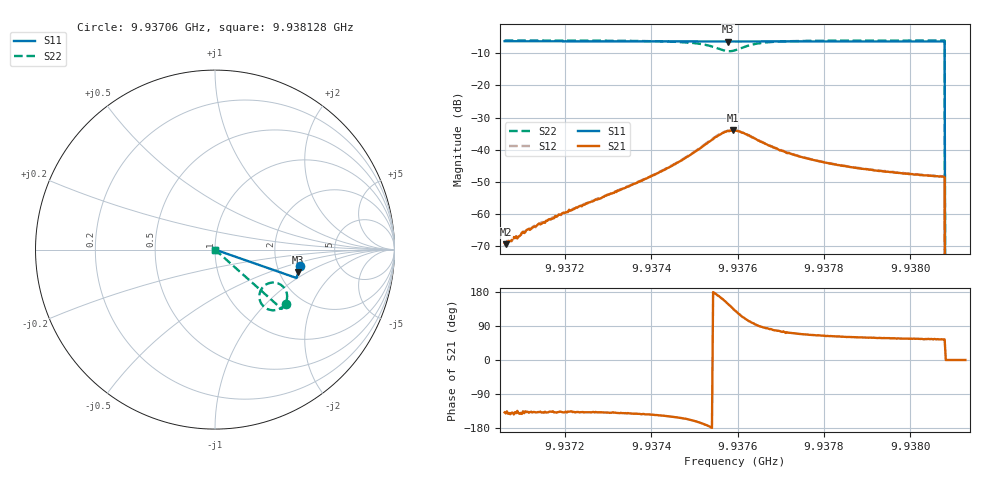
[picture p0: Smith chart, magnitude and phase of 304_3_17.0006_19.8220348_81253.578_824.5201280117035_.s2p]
#  HZ  S  RI  R  50.00
! Rohde & Schwarz Vector Network Analyzer
! Rohde-Schwarz,ZNB20-2Port,1311601062101988,3.16
! Created: UTC 3/20/2024, 11:05:44 PM
! freq[Hz]  re:S11  im:S11  re:S21  im:S21  re:S12  im:S12  re:S22  im:S22
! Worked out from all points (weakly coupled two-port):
!   401 points, 9.93706 GHz to 9.938128 GHz, reference 50 ohm
!   highest |S21| = -33.95 dB at 9.937589 GHz (marker M1); lowest = -69.3 dB at 9.937063 GHz (marker M2)
!   lowest |S11| = -6.4 dB at 9.937578 GHz (marker M3), VSWR 2.85, Z = 127 - j41.2 ohm
!   |S11| at or under -10 dB: 9.93808 GHz to end of sweep
!   |S22| runs from - to -6.0 dB; largest |S21 - S12| = 0.00087
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9.9370604e9  0.4756 -0.0918  -0.000266 -0.000236  -0.000247 -0.000201  0.3953 -0.3033
9.9370631e9  0.4755 -0.092  -0.000266 -0.000214  -0.000292 -0.000193  0.3952 -0.3033
9.9370684e9  0.4755 -0.0923  -0.000297 -0.000233  -0.000292 -0.000241  0.395 -0.3038
9.9371058e9  0.4749 -0.095  -0.000392 -0.000326  -0.000413 -0.000337  0.3923 -0.3064
9.9371431e9  0.4742 -0.0973  -0.000504 -0.000481  -0.000516 -0.000475  0.3893 -0.3093
9.9372392e9  0.4725 -0.1039  -0.000977 -0.000895  -0.00103 -0.000917  0.3806 -0.317
9.9374179e9  0.4686 -0.116  -0.0037 -0.00248  -0.00377 -0.00247  0.3486 -0.3343
9.9374713e9  0.4672 -0.1195  -0.00618 -0.00307  -0.00637 -0.00303  0.3249 -0.3383
9.937522e9  0.4656 -0.1229  -0.0114 -0.00218  -0.0117 -0.00197  0.2822 -0.3254
9.9375566e9  0.464 -0.1247  -0.0165 0.00328  -0.0169 0.00387  0.248 -0.2745
9.937578e9  0.4634 -0.1252  -0.0165 0.0105  -0.0165 0.0112  0.2593 -0.2191
9.9375887e9  0.4633 -0.1257  -0.0146 0.0138  -0.0142 0.0145  0.2811 -0.1964
9.937594e9  0.4633 -0.1257  -0.0129 0.0151  -0.0126 0.0155  0.295 -0.1893
9.9376233e9  0.4638 -0.1272  -0.00426 0.0163  -0.00397 0.0166  0.3634 -0.1942
9.9376527e9  0.4637 -0.1293  0.000333 0.0134  0.000667 0.0136  0.3934 -0.2255
9.9377114e9  0.4626 -0.1337  0.0029 0.00864  0.00283 0.00881  0.4015 -0.2685
9.9377727e9  0.4614 -0.1379  0.00285 0.0064  0.00301 0.00641  0.3969 -0.2909
9.9378714e9  0.4591 -0.1445  0.00264 0.00456  0.00272 0.00459  0.3874 -0.3095
9.9379515e9  0.457 -0.1498  0.00242 0.00383  0.00255 0.0038  0.3811 -0.3192
9.9380742e9  0.4538 -0.1577  0.00222 0.00313  0.0023 0.00312  0.3722 -0.33
9.9380875e9  0 0  0 0  0 0  0 0
9.9381275e9  0 0  0 0  0 0  0 0
